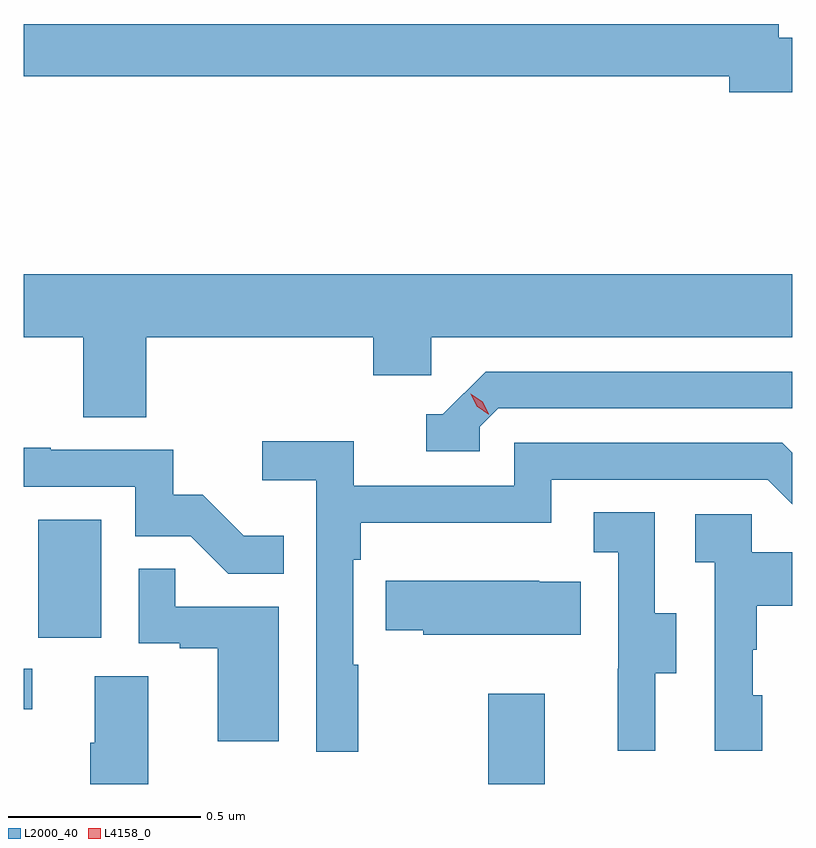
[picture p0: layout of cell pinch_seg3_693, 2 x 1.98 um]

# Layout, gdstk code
import gdstk
lib = gdstk.Library(unit=1e-6, precision=1e-09)
def R(c, l, rs):  # rectangles x0, y0, x1, y1
    for r in rs: c.add(gdstk.rectangle(r[:2], r[2:], *l))
def P(c, l, *ps):  # polygons
    for p in ps: c.add(gdstk.Polygon(p, *l))
L2000_40 = (2000, 40)
L4158_0 = (4158, 0)

pinch_seg3_693 = lib.new_cell('pinch_seg3_693')
R(pinch_seg3_693, L2000_40, [(1115.542,675.777,1115.689,676.012), (1114.333,675.972,1114.354,676.077), (1114.37,676.158,1114.534,676.465)])
P(pinch_seg3_693, L2000_40, [(1116.333,677.72),(1116.298,677.72),(1116.298,677.756),(1114.333,677.756),(1114.333,677.62),(1116.17,677.62),(1116.17,677.578),(1116.333,677.578)],
  [(1114.652,676.94),(1115.243,676.94),(1115.243,676.842),(1115.394,676.842),(1115.394,676.94),(1116.333,676.94),(1116.333,677.104),(1114.333,677.104),(1114.333,676.94),(1114.487,676.94),(1114.487,676.732),(1114.652,676.732)],
  [(1115.52,676.707),(1115.568,676.755),(1116.333,676.755),(1116.333,676.851),(1115.535,676.851),(1115.424,676.74),(1115.381,676.74),(1115.381,676.644),(1115.52,676.644)],
  [(1115.203,676.088),(1115.19,676.088),(1115.19,676.361),(1115.21,676.361),(1115.21,676.457),(1115.706,676.457),(1115.706,676.569),(1116.27,676.569),(1116.333,676.506),(1116.333,676.639),(1116.307,676.665),(1115.61,676.665),(1115.61,676.554),(1115.192,676.554),(1115.192,676.67),(1114.953,676.67),(1114.953,676.568),(1115.094,676.568),(1115.094,675.861),(1115.203,675.861)],
  [(1115.009,676.423),(1114.905,676.423),(1114.798,676.53),(1114.722,676.53),(1114.722,676.647),(1114.403,676.647),(1114.403,676.652),(1114.333,676.652),(1114.333,676.551),(1114.623,676.551),(1114.623,676.422),(1114.767,676.422),(1114.865,676.324),(1115.009,676.324)],
  [(1115.977,676.066),(1116.031,676.066),(1116.031,676.221),(1115.976,676.221),(1115.976,676.484),(1115.817,676.484),(1115.817,676.381),(1115.88,676.381),(1115.88,676.077),(1115.879,676.077),(1115.879,675.864),(1115.977,675.864)],
  [(1116.256,676.008),(1116.231,676.008),(1116.231,676.127),(1116.241,676.127),(1116.241,676.241),(1116.333,676.241),(1116.333,676.381),(1116.228,676.381),(1116.228,676.479),(1116.081,676.479),(1116.081,676.355),(1116.132,676.355),(1116.132,675.864),(1116.256,675.864)],
  [(1114.996,676.239),(1114.727,676.239),(1114.727,676.337),(1114.632,676.337),(1114.632,676.143),(1114.739,676.143),(1114.739,676.131),(1114.838,676.131),(1114.838,675.888),(1114.996,675.888)],
  [(1115.783,676.303),(1115.675,676.303),(1115.675,676.306),(1115.275,676.306),(1115.275,676.177),(1115.373,676.177),(1115.373,676.166),(1115.783,676.166)],
  [(1114.657,676.058),(1114.517,676.058),(1114.517,675.884),(1114.505,675.884),(1114.505,675.777),(1114.657,675.777)])
P(pinch_seg3_693, L4158_0, [(1115.542,676.74),(1115.512,676.76),(1115.497,676.793),(1115.497,676.793),(1115.497,676.793),(1115.527,676.773),(1115.543,676.74),(1115.543,676.74)])

lib.write_gds('pinch_seg3_693.gds')
